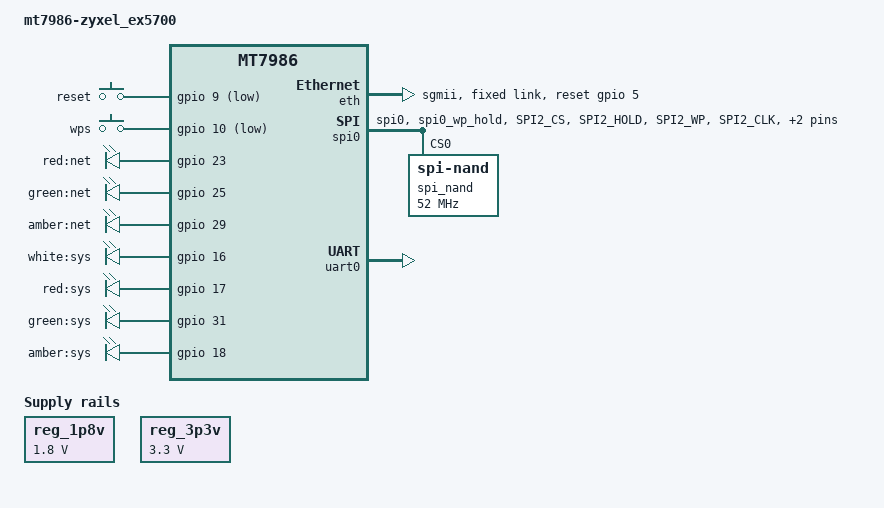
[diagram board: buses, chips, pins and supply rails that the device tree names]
// SPDX-License-Identifier: GPL-2.0-or-later

/dts-v1/;
#include "mt7986.dtsi"
#include <dt-bindings/gpio/gpio.h>
#include <dt-bindings/input/linux-event-codes.h>

/ {
	#address-cells = <1>;
	#size-cells = <1>;
	model = "mt7986-zyxel_ex5700";
	compatible = "mediatek,mt7986", "mediatek,mt7986-rfb";

	chosen {
		stdout-path = &uart0;
		tick-timer = &timer0;
	};

	config {
		bootcmd = "mtkboardboot";
		blink_led = "amber:sys";
		system_led = "green:sys";
	};

	gpio-keys {
		compatible = "gpio-keys";

		reset-button {
			label = "reset";
			gpios = <&gpio 9 GPIO_ACTIVE_LOW>;
			linux,code = <KEY_RESTART>;
		};

		wps-button {
			label = "wps";
			gpios = <&gpio 10 GPIO_ACTIVE_LOW>;
			linux,code = <KEY_WPS_BUTTON>;
		};
	};

	gpio-leds {
		compatible = "gpio-leds";

		red1 {
			label = "red:net";
			gpios = <&gpio 23 GPIO_ACTIVE_HIGH>;
			default-state = "off";
		};

		green1 {
			label = "green:net";
			gpios = <&gpio 25 GPIO_ACTIVE_HIGH>;
			default-state = "off";
		};

		amber1 {
			label = "amber:net";
			gpios = <&gpio 29 GPIO_ACTIVE_HIGH>;
			default-state = "off";
		};

		white2 {
			label = "white:sys";
			gpios = <&gpio 16 GPIO_ACTIVE_HIGH>;
			default-state = "off";
		};

		red2 {
			label = "red:sys";
			gpios = <&gpio 17 GPIO_ACTIVE_HIGH>;
			default-state = "off";
		};

		led_status_green: green2 {
			label = "green:sys";
			gpios = <&gpio 31 GPIO_ACTIVE_HIGH>;
			default-state = "off";
		};

		led_status_amber: amber2 {
			label = "amber:sys";
			gpios = <&gpio 18 GPIO_ACTIVE_HIGH>;
			default-state = "off";
		};
	};

	reg_1p8v: regulator-1p8v {
		compatible = "regulator-fixed";
		regulator-name = "fixed-1.8V";
		regulator-min-microvolt = <1800000>;
		regulator-max-microvolt = <1800000>;
		regulator-boot-on;
		regulator-always-on;
	};

	reg_3p3v: regulator-3p3v {
		compatible = "regulator-fixed";
		regulator-name = "fixed-3.3V";
		regulator-min-microvolt = <3300000>;
		regulator-max-microvolt = <3300000>;
		regulator-boot-on;
		regulator-always-on;
	};
};

&eth {
	status = "okay";
	mediatek,gmac-id = <0>;
	phy-mode = "sgmii";
	mediatek,switch = "mt7531";
	reset-gpios = <&gpio 5 GPIO_ACTIVE_HIGH>;

	fixed-link {
		speed = <1000>;
		full-duplex;
	};
};

&pinctrl {
	spi_flash_pins: spi0-pins-func-1 {
		mux {
			function = "flash";
			groups = "spi0", "spi0_wp_hold";
		};

		conf-pu {
			pins = "SPI2_CS", "SPI2_HOLD", "SPI2_WP";
			drive-strength = <MTK_DRIVE_8mA>;
			bias-pull-up = <MTK_PUPD_SET_R1R0_11>;
		};

		conf-pd {
			pins = "SPI2_CLK", "SPI2_MOSI", "SPI2_MISO";
			drive-strength = <MTK_DRIVE_8mA>;
			bias-pull-down = <MTK_PUPD_SET_R1R0_11>;
		};
	};
};

&spi0 {
	#address-cells = <1>;
	#size-cells = <0>;
	pinctrl-names = "default";
	pinctrl-0 = <&spi_flash_pins>;
	status = "okay";
	must_tx;
	enhance_timing;
	dma_ext;
	ipm_design;
	support_quad;
	tick_dly = <2>;
	sample_sel = <0>;

	spi_nand@0 {
		compatible = "spi-nand";
		reg = <0>;
		spi-max-frequency = <52000000>;
	};
};

&uart0 {
	status = "okay";
};

&watchdog {
	status = "disabled";
};
